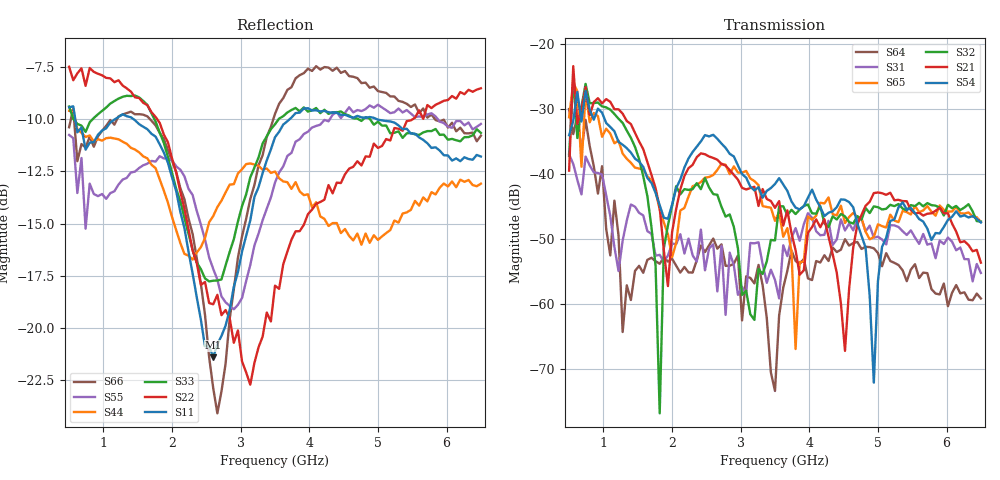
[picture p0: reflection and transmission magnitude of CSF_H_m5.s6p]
!Keysight Technologies,M9804A,MY58100912,A.14.10.03
!Date: Thursday, April 27, 2023 10:28:33
!Correction: S11(C  6-Port  )
!S12(C  6-Port  )
!S13(C  6-Port  )
!S14(C  6-Port  )
!S15(C  6-Port  )
!S16(C  6-Port  )
!S21(C  6-Port  )
!S22(C  6-Port  )
!S23(C  6-Port  )
!S24(C  6-Port  )
!S25(C  6-Port  )
!S26(C  6-Port  )
!S31(C  6-Port  )
!S32(C  6-Port  )
!S33(C  6-Port  )
!S34(C  6-Port  )
!S35(C  6-Port  )
!S36(C  6-Port  )
!S41(C  6-Port  )
!S42(C  6-Port  )
!S43(C  6-Port  )
!S44(C  6-Port  )
!S45(C  6-Port  )
!S46(C  6-Port  )
!S51(C  6-Port  )
!S52(C  6-Port  )
!S53(C  6-Port  )
!S54(C  6-Port  )
!S55(C  6-Port  )
!S56(C  6-Port  )
!S61(C  6-Port  )
!S62(C  6-Port  )
!S63(C  6-Port  )
!S64(C  6-Port  )
!S65(C  6-Port  )
!S66(C  6-Port  )
!S6P File: Measurement: :
# Hz S  RI  R 50
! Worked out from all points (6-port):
!   101 points, 500 MHz to 6.5 GHz, reference 50 ohm
!   strongest paths, dB at 500 MHz, 2 GHz, 3.5 GHz, 5 GHz, 6.5 GHz:
!     S54: -34.1, -44.8, -41.6, -56.5, -47.5
!     S21: -39.5, -49.0, -45.2, -42.9, -53.7
!     S32: -37.3, -45.0, -50.2, -45.1, -47.3
!     S65: -31.3, -52.8, -47.2, -47.8, -47.4
!     S31: -37.0, -50.7, -56.3, -49.7, -55.2
!     S64: -30.0, -53.0, -73.4, -52.2, -59.2
!   lowest |S11| = -21.4 dB at 2.6 GHz (marker M1), VSWR 1.19, Z = 42.4 + j2.2 ohm
!   |S11| at or under -10 dB: 589.7 MHz to 1.169 GHz (579.4 MHz wide, 65.9 % of centre); 1.439 GHz to 3.714 GHz (2.275 GHz wide, 88.3 % of centre); 4.984 GHz to end of sweep
